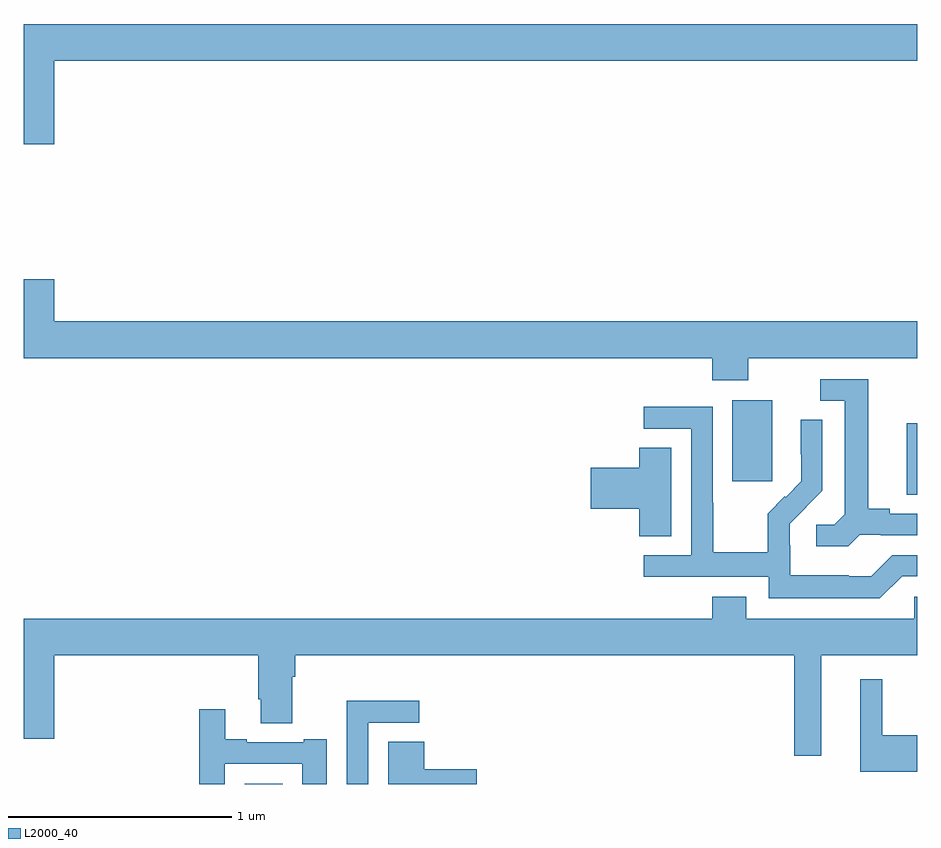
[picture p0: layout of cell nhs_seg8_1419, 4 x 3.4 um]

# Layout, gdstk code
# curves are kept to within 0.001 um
import gdstk
lib = gdstk.Library(unit=1e-6, precision=1e-09)
def R(c, l, rs):  # rectangles x0, y0, x1, y1
    for r in rs: c.add(gdstk.rectangle(r[:2], r[2:], *l))
def P(c, l, *ps):  # polygons
    for p in ps: c.add(gdstk.Polygon(p, *l))
L2000_40 = (2000, 40)

nhs_seg8_1419 = lib.new_cell('nhs_seg8_1419')
R(nhs_seg8_1419, L2000_40, [(201.989,1139.9,202.159,1139.902), (204.953,1141.195,205,1141.515), (204.173,1141.257,204.352,1141.618)])
P(nhs_seg8_1419, L2000_40, [(201.136,1143.14),(205,1143.14),(205,1143.304),(201,1143.304),(201,1142.766),(201.136,1142.766)],
  [(204.243,1141.808),(205,1141.808),(205,1141.972),(201.136,1141.972),(201.136,1142.161),(201,1142.161),(201,1141.808),(204.083,1141.808),(204.083,1141.709),(204.243,1141.709)],
  [(204.744,1141.017),(204.838,1141.017),(204.838,1141.014),(205,1141.014),(205,1141.11),(204.877,1141.11),(204.877,1141.133),(204.781,1141.133),(204.781,1141.713),(204.567,1141.713),(204.567,1141.617),(204.677,1141.617),(204.677,1141.109),(204.63,1141.062),(204.549,1141.062),(204.549,1140.965),(204.692,1140.965)],
  [(204.933,1140.831),(205,1140.831),(205,1140.924),(204.888,1140.924),(204.795,1140.831),(204.695,1140.831),(204.695,1140.835),(204.432,1140.835),(204.432,1140.969),(204.43,1140.969),(204.43,1141.066),(204.576,1141.214),(204.576,1141.532),(204.48,1141.532),(204.48,1141.378),(204.482,1141.378),(204.482,1141.256),(204.411,1141.185),(204.408,1141.188),(204.331,1141.111),(204.331,1140.937),(204.087,1140.937),(204.087,1141.16),(204.084,1141.16),(204.084,1141.59),(203.775,1141.59),(203.775,1141.491),(203.988,1141.491),(203.988,1140.924),(203.775,1140.924),(203.775,1140.828),(204.336,1140.828),(204.336,1140.731),(204.833,1140.731)],
  [(203.899,1141.406),(203.756,1141.406),(203.756,1141.316),(203.538,1141.316),(203.538,1141.133),(203.756,1141.133),(203.756,1141.009),(203.899,1141.009)],
  [(204.571,1140.476),(205,1140.476),(205,1140.738),(204.987,1140.738),(204.987,1140.64),(204.235,1140.64),(204.235,1140.739),(204.083,1140.739),(204.083,1140.64),(201,1140.64),(201,1140.102),(201.136,1140.102),(201.136,1140.476),(202.049,1140.476),(202.049,1140.28),(202.061,1140.28),(202.061,1140.172),(202.201,1140.172),(202.201,1140.38),(202.214,1140.38),(202.214,1140.476),(204.45,1140.476),(204.45,1140.027),(204.571,1140.027)],
  [(205,1140.118),(204.844,1140.118),(204.844,1140.37),(204.746,1140.37),(204.746,1139.954),(205,1139.954)],
  [(202.542,1140.174),(202.771,1140.174),(202.771,1140.272),(202.446,1140.272),(202.446,1139.9),(202.542,1139.9)],
  [(201.9,1139.991),(202.247,1139.991),(202.247,1139.9),(202.357,1139.9),(202.357,1140.1),(202.253,1140.1),(202.253,1140.087),(201.997,1140.087),(201.997,1140.1),(201.901,1140.1),(201.901,1140.235),(201.784,1140.235),(201.784,1139.9),(201.9,1139.9)],
  [(203.029,1139.966),(202.793,1139.966),(202.793,1140.089),(202.631,1140.089),(202.631,1139.9),(203.029,1139.9)])

lib.write_gds('nhs_seg8_1419.gds')
